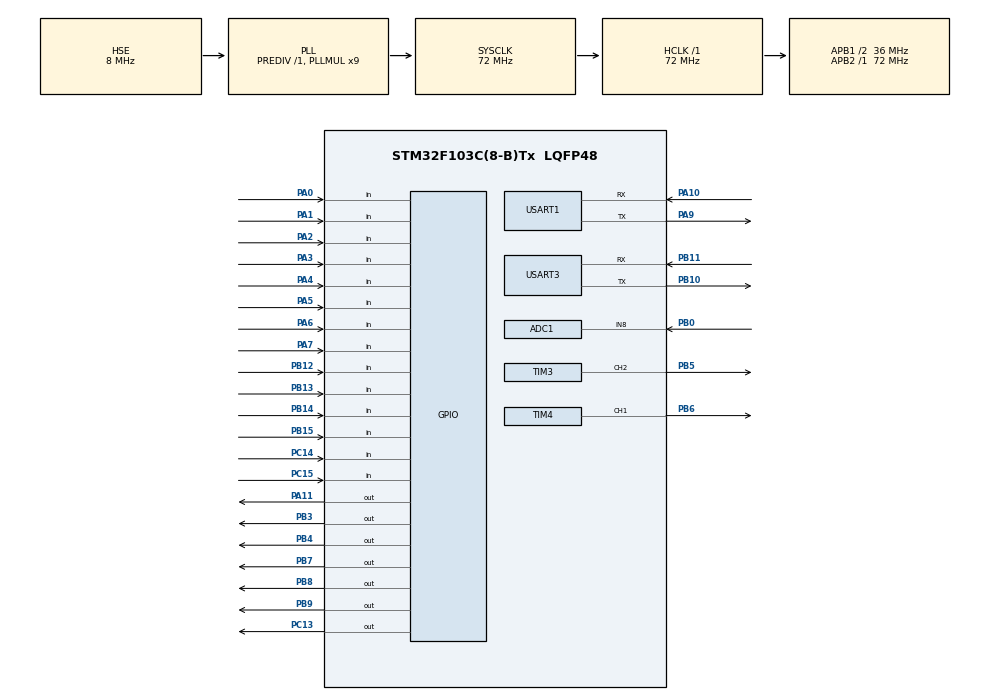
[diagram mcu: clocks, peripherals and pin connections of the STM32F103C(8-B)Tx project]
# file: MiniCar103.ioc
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ADC1.Channel-0\#ChannelRegularConversion=ADC_CHANNEL_8
ADC1.NbrOfConversionFlag=1
ADC1.Rank-0\#ChannelRegularConversion=1
ADC1.SamplingTime-0\#ChannelRegularConversion=ADC_SAMPLETIME_239CYCLES_5
ADC1.master=1
Mcu.Family=STM32F1
Mcu.Name=STM32F103C(8-B)Tx
Mcu.Package=LQFP48
NVIC.ADC1_2_IRQn=true\:0\:0\:false\:false\:true\:true\:true\:true
NVIC.PriorityGroup=NVIC_PRIORITYGROUP_4
NVIC.TIM1_UP_IRQn=true\:0\:0\:false\:false\:true\:true\:true\:true
NVIC.USART1_IRQn=true\:0\:0\:false\:false\:true\:true\:true\:true
NVIC.USART3_IRQn=true\:0\:0\:false\:false\:true\:true\:true\:true
PA0-WKUP.Signal=GPIO_Input
PA1.Signal=GPIO_Input
PA10.Mode=Asynchronous
PA10.Signal=USART1_RX
PA11.Signal=GPIO_Output
PA13.Mode=Serial_Wire
PA13.Signal=SYS_JTMS-SWDIO
PA14.Mode=Serial_Wire
PA14.Signal=SYS_JTCK-SWCLK
PA2.Signal=GPIO_Input
PA3.Signal=GPIO_Input
PA4.Signal=GPIO_Input
PA5.Signal=GPIO_Input
PA6.Signal=GPIO_Input
PA7.Signal=GPIO_Input
PA9.Mode=Asynchronous
PA9.Signal=USART1_TX
PB0.Signal=ADCx_IN8
PB10.Mode=Asynchronous
PB10.Signal=USART3_TX
PB11.Mode=Asynchronous
PB11.Signal=USART3_RX
PB12.Signal=GPIO_Input
PB13.Signal=GPIO_Input
PB14.Signal=GPIO_Input
PB15.Signal=GPIO_Input
PB3.Signal=GPIO_Output
PB4.Signal=GPIO_Output
PB5.Signal=S_TIM3_CH2
PB6.Signal=S_TIM4_CH1
PB7.Signal=GPIO_Output
PB8.GPIO_ModeDefaultOutputPP=GPIO_MODE_OUTPUT_PP
PB8.GPIO_PuPd=GPIO_PULLUP
PB8.PinState=GPIO_PIN_SET
PB8.Signal=GPIO_Output
PB9.GPIO_PuPd=GPIO_PULLUP
PB9.PinState=GPIO_PIN_SET
PB9.Signal=GPIO_Output
PC13-TAMPER-RTC.Signal=GPIO_Output
PC14-OSC32_IN.Signal=GPIO_Input
PC15-OSC32_OUT.Signal=GPIO_Input
PD0-OSC_IN.Mode=HSE-External-Oscillator
PD0-OSC_IN.Signal=RCC_OSC_IN
PD1-OSC_OUT.Mode=HSE-External-Oscillator
PD1-OSC_OUT.Signal=RCC_OSC_OUT
ProjectManager.HeapSize=0x200
ProjectManager.StackSize=0x400
ProjectManager.TargetToolchain=MDK-ARM V5.32
RCC.ADCPresc=RCC_ADCPCLK2_DIV6
RCC.AHBFreq_Value=72000000
RCC.APB1CLKDivider=RCC_HCLK_DIV2
RCC.APB1Freq_Value=36000000
RCC.APB1TimFreq_Value=72000000
RCC.APB2Freq_Value=72000000
RCC.APB2TimFreq_Value=72000000
RCC.HCLKFreq_Value=72000000
RCC.PLLMUL=RCC_PLL_MUL9
RCC.PLLSourceVirtual=RCC_PLLSOURCE_HSE
RCC.SYSCLKFreq_VALUE=72000000
RCC.SYSCLKSource=RCC_SYSCLKSOURCE_PLLCLK
RCC.USBFreq_Value=72000000
SH.ADCx_IN8.0=ADC1_IN8,IN8
SH.S_TIM3_CH2.0=TIM3_CH2,PWM Generation2 CH2
SH.S_TIM4_CH1.0=TIM4_CH1,PWM Generation1 CH1
TIM1.AutoReloadPreload=TIM_AUTORELOAD_PRELOAD_ENABLE
TIM1.Period=499
TIM1.Prescaler=71
TIM3.Channel-PWM\ Generation2\ CH2=TIM_CHANNEL_2
TIM3.CounterMode=TIM_COUNTERMODE_UP
TIM3.OCMode_PWM-PWM\ Generation2\ CH2=TIM_OCMODE_PWM1
TIM3.Period=999
TIM3.Prescaler=71
TIM4.Channel-PWM\ Generation1\ CH1=TIM_CHANNEL_1
TIM4.Period=999
TIM4.Prescaler=71
USART1.VirtualMode=VM_ASYNC
USART3.VirtualMode=VM_ASYNC
VP_TIM1_VS_ClockSourceINT.Mode=Internal
board=custom

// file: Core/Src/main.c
/* USER CODE BEGIN Header */
/**
  ******************************************************************************
  * @file           : main.c
  * @brief          : 主程序入口点
  ******************************************************************************
  * @attention
  *
  * Copyright (c) 2025 STMicroelectronics.
  * All rights reserved.
  *
  * This software is licensed under terms that can be found in the LICENSE file
  * in the root directory of this software component.
  * If no LICENSE file comes with this software, it is provided AS-IS.
  *
  ******************************************************************************
  */
/* USER CODE END Header */

#include "main.h"

/* USER CODE BEGIN Includes */
#include "TaskMain.h"    // 应用任务头文件
#include "Board.h"       // 板级支持包头文件

/* USER CODE END Includes */

ADC_HandleTypeDef hadc1;

TIM_HandleTypeDef htim1;
TIM_HandleTypeDef htim3;
TIM_HandleTypeDef htim4;

UART_HandleTypeDef huart1;
UART_HandleTypeDef huart3;

void SystemClock_Config(void);
static void MX_GPIO_Init(void);
static void MX_ADC1_Init(void);
static void MX_USART1_UART_Init(void);
static void MX_USART3_UART_Init(void);
static void MX_TIM4_Init(void);
static void MX_TIM3_Init(void);
static void MX_TIM1_Init(void);

/**
  * @brief  应用程序入口点
  * @retval int
  */
int main(void)
{
    /* USER CODE BEGIN 1 */
    unsigned short i;

    /* USER CODE END 1 */

    /* MCU Configuration--------------------------------------------------------*/

    /* Reset of all peripherals, Initializes the Flash interface and the Systick. */
    HAL_Init();

    /* Configure the system clock */
    SystemClock_Config();

    /* Initialize all configured peripherals */
    MX_GPIO_Init();
    MX_ADC1_Init();
    MX_USART1_UART_Init();
    MX_USART3_UART_Init();
    MX_TIM4_Init();
    MX_TIM3_Init();
    MX_TIM1_Init();
    /* USER CODE BEGIN 2 */
    BoardInit();    // 用户板级初始化
    // 启动TIM1定时器中断用于PID循迹控制
    HAL_TIM_Base_Start_IT(&htim1);

    /* USER CODE END 2 */

    /* Infinite loop */
    /* USER CODE BEGIN WHILE */
    while (1) {
        for(i = 0; i < TASK_MAX; i++) {    // 扫描所有任务
            if(TaskComps[i].Run) {          // 检查任务的运行标志
                TaskComps[i].TaskHook();    // 调用任务处理函数
                TaskComps[i].Run = 0;       // 清除运行标志
            }
        }
        /* USER CODE END WHILE */

    }
}

/**
  * @brief  系统时钟配置函数
  * @retval None
  * @details 配置系统时钟为72MHz：
  *          - HSE = 8MHz
  *          - PLL = 72MHz
  *          - AHB = 72MHz
  *          - APB1 = 36MHz
  *          - APB2 = 72MHz
  */
void SystemClock_Config(void)
{
    RCC_OscInitTypeDef RCC_OscInitStruct = {0};
    RCC_ClkInitTypeDef RCC_ClkInitStruct = {0};
    RCC_PeriphCLKInitTypeDef PeriphClkInit = {0};

    /** 振荡器配置
    */
    RCC_OscInitStruct.OscillatorType = RCC_OSCILLATORTYPE_HSE;
    RCC_OscInitStruct.HSEState = RCC_HSE_ON;
    RCC_OscInitStruct.HSEPredivValue = RCC_HSE_PREDIV_DIV1;
    RCC_OscInitStruct.HSIState = RCC_HSI_ON;
    RCC_OscInitStruct.PLL.PLLState = RCC_PLL_ON;
    RCC_OscInitStruct.PLL.PLLSource = RCC_PLLSOURCE_HSE;
    RCC_OscInitStruct.PLL.PLLMUL = RCC_PLL_MUL9;
    if (HAL_RCC_OscConfig(&RCC_OscInitStruct) != HAL_OK) {
        Error_Handler();
    }

    /** CPU、AHB和APB总线时钟配置
    */
    RCC_ClkInitStruct.ClockType = RCC_CLOCKTYPE_HCLK | RCC_CLOCKTYPE_SYSCLK
                                | RCC_CLOCKTYPE_PCLK1 | RCC_CLOCKTYPE_PCLK2;
    RCC_ClkInitStruct.SYSCLKSource = RCC_SYSCLKSOURCE_PLLCLK;
    RCC_ClkInitStruct.AHBCLKDivider = RCC_SYSCLK_DIV1;
    RCC_ClkInitStruct.APB1CLKDivider = RCC_HCLK_DIV2;
    RCC_ClkInitStruct.APB2CLKDivider = RCC_HCLK_DIV1;

    if (HAL_RCC_ClockConfig(&RCC_ClkInitStruct, FLASH_LATENCY_2) != HAL_OK) {
        Error_Handler();
    }
    PeriphClkInit.PeriphClockSelection = RCC_PERIPHCLK_ADC;
    PeriphClkInit.AdcClockSelection = RCC_ADCPCLK2_DIV6;
    if (HAL_RCCEx_PeriphCLKConfig(&PeriphClkInit) != HAL_OK) {
        Error_Handler();
    }
}

/**
  * @brief  ADC1初始化函数
  * @param  None
  * @retval None
  */
static void MX_ADC1_Init(void)
{

    ADC_ChannelConfTypeDef sConfig = {0};

    /** 公共配置
    */
    hadc1.Instance = ADC1;
    hadc1.Init.ScanConvMode = ADC_SCAN_DISABLE;
    hadc1.Init.ContinuousConvMode = DISABLE;
    hadc1.Init.DiscontinuousConvMode = DISABLE;
    hadc1.Init.ExternalTrigConv = ADC_SOFTWARE_START;
    hadc1.Init.DataAlign = ADC_DATAALIGN_RIGHT;
    hadc1.Init.NbrOfConversion = 1;
    if (HAL_ADC_Init(&hadc1) != HAL_OK) {
        Error_Handler();
    }

    /** 配置 regular 通道
    */
    sConfig.Channel = ADC_CHANNEL_8;
    sConfig.Rank = ADC_REGULAR_RANK_1;
    sConfig.SamplingTime = ADC_SAMPLETIME_239CYCLES_5;
    if (HAL_ADC_ConfigChannel(&hadc1, &sConfig) != HAL_OK) {
        Error_Handler();
    }
}

/**
  * @brief  TIM1初始化函数
  * @param  None
  * @retval None
  * @details TIM1配置为1kHz更新中断（1ms周期）
  *          用于PID控制循环定时
  */
static void MX_TIM1_Init(void)
{

    TIM_ClockConfigTypeDef sClockSourceConfig = {0};
    TIM_MasterConfigTypeDef sMasterConfig = {0};

    htim1.Instance = TIM1;
    htim1.Init.Prescaler = 71;          // 72MHz / 72 = 1MHz
    htim1.Init.CounterMode = TIM_COUNTERMODE_UP;
    htim1.Init.Period = 999;            // 1MHz / 1000 = 1kHz (1ms)
    htim1.Init.ClockDivision = TIM_CLOCKDIVISION_DIV1;
    htim1.Init.RepetitionCounter = 0;
    htim1.Init.AutoReloadPreload = TIM_AUTORELOAD_PRELOAD_ENABLE;
    if (HAL_TIM_Base_Init(&htim1) != HAL_OK) {
        Error_Handler();
    }
    sClockSourceConfig.ClockSource = TIM_CLOCKSOURCE_INTERNAL;
    if (HAL_TIM_ConfigClockSource(&htim1, &sClockSourceConfig) != HAL_OK) {
        Error_Handler();
    }
    sMasterConfig.MasterOutputTrigger = TIM_TRGO_RESET;
    sMasterConfig.MasterSlaveMode = TIM_MASTERSLAVEMODE_DISABLE;
    if (HAL_TIMEx_MasterConfigSynchronization(&htim1, &sMasterConfig) != HAL_OK) {
        Error_Handler();
    }
}

/**
  * @brief  TIM3初始化函数
  * @param  None
  * @retval None
  * @details TIM3配置为PWM模式，用于左电机速度控制
  *          PWM频率 = 72MHz / 72 / 1000 = 1kHz
  */
static void MX_TIM3_Init(void)
{

    TIM_MasterConfigTypeDef sMasterConfig = {0};
    TIM_OC_InitTypeDef sConfigOC = {0};

    htim3.Instance = TIM3;
    htim3.Init.Prescaler = 71;          // 72MHz / 72 = 1MHz
    htim3.Init.CounterMode = TIM_COUNTERMODE_UP;
    htim3.Init.Period = 999;            // 1MHz / 1000 = 1kHz
    htim3.Init.ClockDivision = TIM_CLOCKDIVISION_DIV1;
    htim3.Init.AutoReloadPreload = TIM_AUTORELOAD_PRELOAD_DISABLE;
    if (HAL_TIM_PWM_Init(&htim3) != HAL_OK) {
        Error_Handler();
    }
    sMasterConfig.MasterOutputTrigger = TIM_TRGO_RESET;
    sMasterConfig.MasterSlaveMode = TIM_MASTERSLAVEMODE_DISABLE;
    if (HAL_TIMEx_MasterConfigSynchronization(&htim3, &sMasterConfig) != HAL_OK) {
        Error_Handler();
    }
    sConfigOC.OCMode = TIM_OCMODE_PWM1;
    sConfigOC.Pulse = 0;
    sConfigOC.OCPolarity = TIM_OCPOLARITY_HIGH;
    sConfigOC.OCFastMode = TIM_OCFAST_DISABLE;
    if (HAL_TIM_PWM_ConfigChannel(&htim3, &sConfigOC, TIM_CHANNEL_2) != HAL_OK) {
        Error_Handler();
    }
    /* USER CODE BEGIN TIM3_Init 2 */
    // 确保PWM启动后输出为0
    if (HAL_TIM_PWM_Start(&htim3, TIM_CHANNEL_2) != HAL_OK) {
        Error_Handler();
    }

    // 确保PWM启动后输出为0
    __HAL_TIM_SET_COMPARE(&htim3, TIM_CHANNEL_2, 0);

    /* USER CODE END TIM3_Init 2 */
    HAL_TIM_MspPostInit(&htim3);
}

/**
  * @brief  TIM4初始化函数
  * @param  None
  * @retval None
  * @details TIM4配置为PWM模式，用于右电机速度控制
  *          PWM频率 = 72MHz / 72 / 1000 = 1kHz
  */
static void MX_TIM4_Init(void)
{

    TIM_MasterConfigTypeDef sMasterConfig = {0};
    TIM_OC_InitTypeDef sConfigOC = {0};

    htim4.Instance = TIM4;
    htim4.Init.Prescaler = 71;          // 72MHz / 72 = 1MHz
    htim4.Init.CounterMode = TIM_COUNTERMODE_UP;
    htim4.Init.Period = 999;            // 1MHz / 1000 = 1kHz
    htim4.Init.ClockDivision = TIM_CLOCKDIVISION_DIV1;
    htim4.Init.AutoReloadPreload = TIM_AUTORELOAD_PRELOAD_DISABLE;
    if (HAL_TIM_PWM_Init(&htim4) != HAL_OK) {
        Error_Handler();
    }
    sMasterConfig.MasterOutputTrigger = TIM_TRGO_RESET;
    sMasterConfig.MasterSlaveMode = TIM_MASTERSLAVEMODE_DISABLE;
    if (HAL_TIMEx_MasterConfigSynchronization(&htim4, &sMasterConfig) != HAL_OK) {
        Error_Handler();
    }
    sConfigOC.OCMode = TIM_OCMODE_PWM1;
    sConfigOC.Pulse = 0;
    sConfigOC.OCPolarity = TIM_OCPOLARITY_HIGH;
    sConfigOC.OCFastMode = TIM_OCFAST_DISABLE;
    if (HAL_TIM_PWM_ConfigChannel(&htim4, &sConfigOC, TIM_CHANNEL_1) != HAL_OK) {
        Error_Handler();
    }
    /* USER CODE BEGIN TIM4_Init 2 */
    // 确保PWM启动后输出为0
    if (HAL_TIM_PWM_Start(&htim4, TIM_CHANNEL_1) != HAL_OK) {
        Error_Handler();
    }

    // 确保PWM启动后输出为0
    __HAL_TIM_SET_COMPARE(&htim4, TIM_CHANNEL_1, 0);

    /* USER CODE END TIM4_Init 2 */
    HAL_TIM_MspPostInit(&htim4);
}

/**
  * @brief  USART1初始化函数
  * @param  None
  * @retval None
  * @details USART1配置为115200 8N1，用于调试串口
  */
static void MX_USART1_UART_Init(void)
{

    huart1.Instance = USART1;
    huart1.Init.BaudRate = 115200;
    huart1.Init.WordLength = UART_WORDLENGTH_8B;
    huart1.Init.StopBits = UART_STOPBITS_1;
    huart1.Init.Parity = UART_PARITY_NONE;
    huart1.Init.Mode = UART_MODE_TX_RX;
    huart1.Init.HwFlowCtl = UART_HWCONTROL_NONE;
    huart1.Init.OverSampling = UART_OVERSAMPLING_16;
    if (HAL_UART_Init(&huart1) != HAL_OK) {
        Error_Handler();
    }
}

/**
  * @brief  USART3初始化函数
  * @param  None
  * @retval None
  * @details USART3配置为115200 8N1，用于主通信串口
  */
static void MX_USART3_UART_Init(void)
{

    huart3.Instance = USART3;
    huart3.Init.BaudRate = 115200;
    huart3.Init.WordLength = UART_WORDLENGTH_8B;
    huart3.Init.StopBits = UART_STOPBITS_1;
    huart3.Init.Parity = UART_PARITY_NONE;
    huart3.Init.Mode = UART_MODE_TX_RX;
    huart3.Init.HwFlowCtl = UART_HWCONTROL_NONE;
    huart3.Init.OverSampling = UART_OVERSAMPLING_16;
    if (HAL_UART_Init(&huart3) != HAL_OK) {
        Error_Handler();
    }
}

/**
  * @brief  GPIO初始化函数
  * @param  None
  * @retval None
  * @details 配置所有外设GPIO：
  *          - LED：PC13（核心板LED）、PA11（扩展板LED）
  *          - 电机控制：PB3(蜂鸣器)、PB4(左电机方向)、PB7(右电机方向)
  *          - 传感器输入：PA0-PA7（8个红外传感器）
  *          - 按键输入：PC14、PC15（2个按键）
  *          - 编码器输入：PB8、PB9
  */
static void MX_GPIO_Init(void)
{
    GPIO_InitTypeDef GPIO_InitStruct = {0};

    /* GPIO Ports Clock Enable */
    __HAL_RCC_GPIOC_CLK_ENABLE();
    __HAL_RCC_GPIOD_CLK_ENABLE();
    __HAL_RCC_GPIOA_CLK_ENABLE();
    __HAL_RCC_GPIOB_CLK_ENABLE();

    /*Configure GPIO pin Output Level */
    HAL_GPIO_WritePin(GPIOC, GPIO_PIN_13, GPIO_PIN_RESET);

    /*Configure GPIO pin Output Level */
    HAL_GPIO_WritePin(GPIOA, GPIO_PIN_11, GPIO_PIN_RESET);

    /*Configure GPIO pin Output Level */
    HAL_GPIO_WritePin(GPIOB, GPIO_PIN_3|GPIO_PIN_4|GPIO_PIN_7, GPIO_PIN_RESET);

    /*Configure GPIO pin Output Level */
    HAL_GPIO_WritePin(GPIOB, GPIO_PIN_8|GPIO_PIN_9, GPIO_PIN_SET);

    /*Configure GPIO pin : PC13 */
    GPIO_InitStruct.Pin = GPIO_PIN_13;
    GPIO_InitStruct.Mode = GPIO_MODE_OUTPUT_PP;
    GPIO_InitStruct.Pull = GPIO_NOPULL;
    GPIO_InitStruct.Speed = GPIO_SPEED_FREQ_LOW;
    HAL_GPIO_Init(GPIOC, &GPIO_InitStruct);

    /*Configure GPIO pins : PC14 PC15 */
    GPIO_InitStruct.Pin = GPIO_PIN_14|GPIO_PIN_15;
    GPIO_InitStruct.Mode = GPIO_MODE_INPUT;
    GPIO_InitStruct.Pull = GPIO_NOPULL;
    HAL_GPIO_Init(GPIOC, &GPIO_InitStruct);

    /*Configure GPIO pins : PA0 PA1 PA2 PA3
                             PA4 PA5 PA6 PA7 */
    GPIO_InitStruct.Pin = GPIO_PIN_0|GPIO_PIN_1|GPIO_PIN_2|GPIO_PIN_3
                              |GPIO_PIN_4|GPIO_PIN_5|GPIO_PIN_6|GPIO_PIN_7;
    GPIO_InitStruct.Mode = GPIO_MODE_INPUT;
    GPIO_InitStruct.Pull = GPIO_NOPULL;
    HAL_GPIO_Init(GPIOA, &GPIO_InitStruct);

    /*Configure GPIO pins : PB12 PB13 PB14 PB15 */
    GPIO_InitStruct.Pin = GPIO_PIN_12|GPIO_PIN_13|GPIO_PIN_14|GPIO_PIN_15;
    GPIO_InitStruct.Mode = GPIO_MODE_INPUT;
    GPIO_InitStruct.Pull = GPIO_NOPULL;
    HAL_GPIO_Init(GPIOB, &GPIO_InitStruct);

    /*Configure GPIO pin : PA11 */
    GPIO_InitStruct.Pin = GPIO_PIN_11;
    GPIO_InitStruct.Mode = GPIO_MODE_OUTPUT_PP;
    GPIO_InitStruct.Pull = GPIO_NOPULL;
    GPIO_InitStruct.Speed = GPIO_SPEED_FREQ_LOW;
    HAL_GPIO_Init(GPIOA, &GPIO_InitStruct);

    /*Configure GPIO pins : PB3 PB4 PB7 */
    GPIO_InitStruct.Pin = GPIO_PIN_3|GPIO_PIN_4|GPIO_PIN_7;
    GPIO_InitStruct.Mode = GPIO_MODE_OUTPUT_PP;
    GPIO_InitStruct.Pull = GPIO_NOPULL;
    GPIO_InitStruct.Speed = GPIO_SPEED_FREQ_LOW;
    HAL_GPIO_Init(GPIOB, &GPIO_InitStruct);

    /*Configure GPIO pins : PB8 PB9 */
    GPIO_InitStruct.Pin = GPIO_PIN_8|GPIO_PIN_9;
    GPIO_InitStruct.Mode = GPIO_MODE_OUTPUT_PP;
    GPIO_InitStruct.Pull = GPIO_PULLUP;
    GPIO_InitStruct.Speed = GPIO_SPEED_FREQ_LOW;
    HAL_GPIO_Init(GPIOB, &GPIO_InitStruct);

}

void Error_Handler(void)
{
    __disable_irq();
    while (1) {
    }
}
